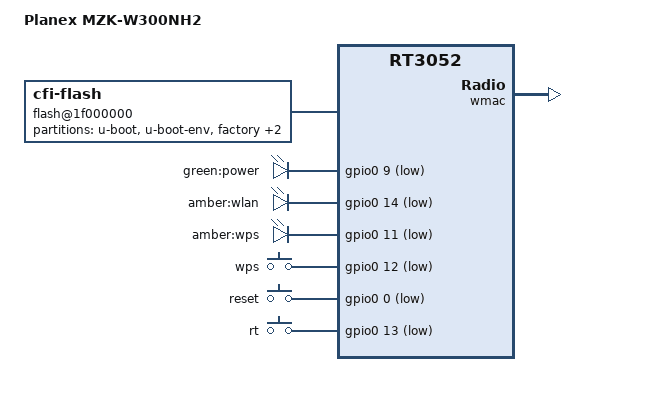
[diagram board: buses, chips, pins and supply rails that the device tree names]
#include "rt3050.dtsi"

#include <dt-bindings/gpio/gpio.h>
#include <dt-bindings/input/input.h>

/ {
	compatible = "planex,mzk-w300nh2", "ralink,rt3052-soc";
	model = "Planex MZK-W300NH2";

	aliases {
		led-boot = &led_power;
		led-failsafe = &led_power;
		led-running = &led_power;
		led-upgrade = &led_power;
	};

	flash@1f000000 {
		compatible = "cfi-flash";
		reg = <0x1f000000 0x800000>;
		bank-width = <2>;
		device-width = <2>;

		partitions {
			compatible = "fixed-partitions";
			#address-cells = <1>;
			#size-cells = <1>;

			partition@0 {
				label = "u-boot";
				reg = <0x0 0x30000>;
				read-only;
			};

			partition@30000 {
				label = "u-boot-env";
				reg = <0x30000 0x10000>;
				read-only;
			};

			factory: partition@40000 {
				label = "factory";
				reg = <0x40000 0x10000>;
				read-only;
			};

			partition@3e0000 {
				label = "cimage";
				reg = <0x3e0000 0x20000>;
				read-only;
			};

			partition@50000 {
				compatible = "denx,uimage";
				label = "firmware";
				reg = <0x50000 0x390000>;
			};
		};
	};

	leds {
		compatible = "gpio-leds";

		led_power: power {
			label = "green:power";
			gpios = <&gpio0 9 GPIO_ACTIVE_LOW>;
		};

		wlan {
			label = "amber:wlan";
			gpios = <&gpio0 14 GPIO_ACTIVE_LOW>;
		};

		wps {
			label = "amber:wps";
			gpios = <&gpio0 11 GPIO_ACTIVE_LOW>;
		};
	};

	keys {
		compatible = "gpio-keys-polled";
		poll-interval = <20>;

		wps {
			label = "wps";
			gpios = <&gpio0 12 GPIO_ACTIVE_LOW>;
			linux,code = <KEY_WPS_BUTTON>;
		};

		reset {
			label = "reset";
			gpios = <&gpio0 0 GPIO_ACTIVE_LOW>;
			linux,code = <KEY_RESTART>;
		};

		rt {
			label = "rt";
			gpios = <&gpio0 13 GPIO_ACTIVE_LOW>;
			linux,code = <BTN_0>;
		};
	};
};

&state_default {
	gpio {
		groups = "spi", "i2c", "jtag", "rgmii", "mdio", "uartf";
		function = "gpio";
	};
};

&ethernet {
	nvmem-cells = <&macaddr_factory_4>;
	nvmem-cell-names = "mac-address";
};

&esw {
	mediatek,portmap = <0x2f>;
};

&wmac {
	ralink,mtd-eeprom = <&factory 0x0>;
};

&factory {
	compatible = "nvmem-cells";
	#address-cells = <1>;
	#size-cells = <1>;

	macaddr_factory_4: macaddr@4 {
		reg = <0x4 0x6>;
	};
};
